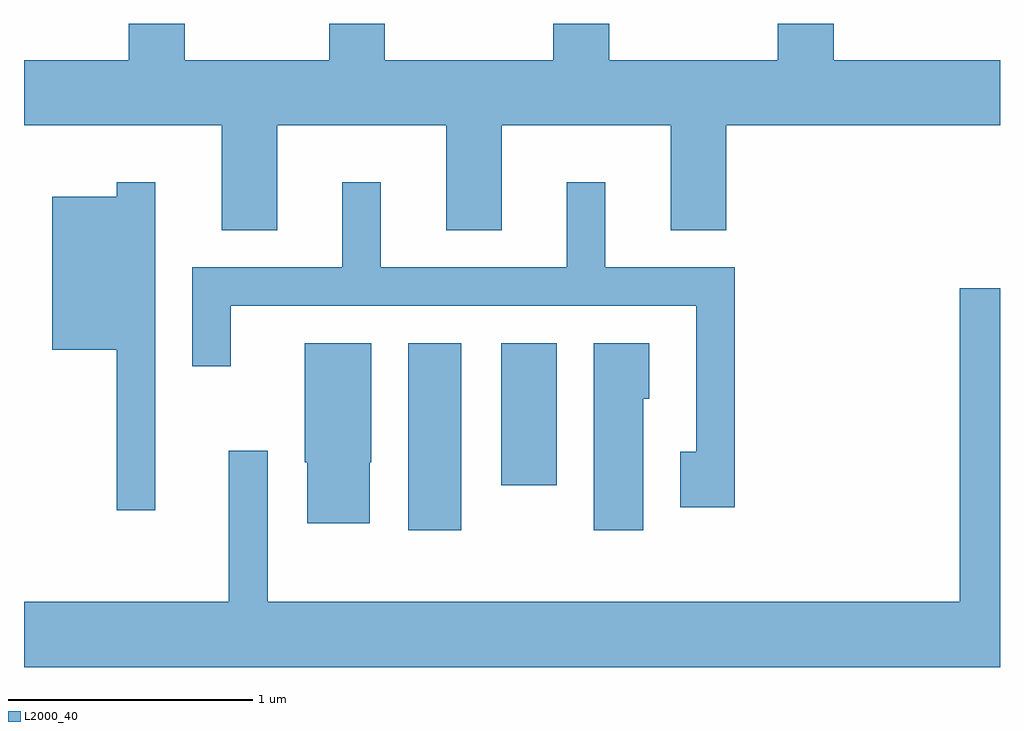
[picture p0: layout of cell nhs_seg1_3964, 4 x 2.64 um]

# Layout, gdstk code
import gdstk
lib = gdstk.Library(unit=1e-6, precision=1e-09)
def R(c, l, rs):  # rectangles x0, y0, x1, y1
    for r in rs: c.add(gdstk.rectangle(r[:2], r[2:], *l))
def P(c, l, *ps):  # polygons
    for p in ps: c.add(gdstk.Polygon(p, *l))
L2000_40 = (2000, 40)

nhs_seg1_3964 = lib.new_cell('nhs_seg1_3964')
R(nhs_seg1_3964, L2000_40, [(305.186,955.636,305.404,956.404), (305.566,955.821,305.794,956.404)])
P(nhs_seg1_3964, L2000_40, [(305.089,957.712),(304.861,957.712),(304.861,957.564),(304.269,957.564),(304.269,957.712),(304.041,957.712),(304.041,957.564),(303.611,957.564),(303.611,957.296),(304.421,957.296),(304.421,956.866),(304.649,956.866),(304.649,957.296),(305.341,957.296),(305.341,956.866),(305.569,956.866),(305.569,957.296),(306.261,957.296),(306.261,956.866),(306.489,956.866),(306.489,957.296),(307.611,957.296),(307.611,957.564),(306.929,957.564),(306.929,957.712),(306.701,957.712),(306.701,957.564),(306.009,957.564),(306.009,957.712),(305.781,957.712),(305.781,957.564),(305.089,957.564)],
  [(306.524,956.714),(305.994,956.714),(305.994,957.063),(305.836,957.063),(305.836,956.714),(305.074,956.714),(305.074,957.063),(304.916,957.063),(304.916,956.714),(304.301,956.714),(304.301,956.308),(304.459,956.308),(304.459,956.556),(306.366,956.556),(306.366,955.959),(306.301,955.959),(306.301,955.731),(306.524,955.731)],
  [(304.149,957.063),(303.991,957.063),(303.991,957.004),(303.726,957.004),(303.726,956.376),(303.991,956.376),(303.991,955.718),(304.149,955.718)],
  [(307.611,956.629),(307.446,956.629),(307.446,955.344),(304.609,955.344),(304.609,955.963),(304.451,955.963),(304.451,955.344),(303.611,955.344),(303.611,955.076),(307.611,955.076)],
  [(306.149,956.176),(306.174,956.176),(306.174,956.404),(305.946,956.404),(305.946,955.636),(306.149,955.636)],
  [(305.029,955.915),(305.034,955.915),(305.034,956.404),(304.761,956.404),(304.761,955.915),(304.771,955.915),(304.771,955.666),(305.029,955.666)])

lib.write_gds('nhs_seg1_3964.gds')
